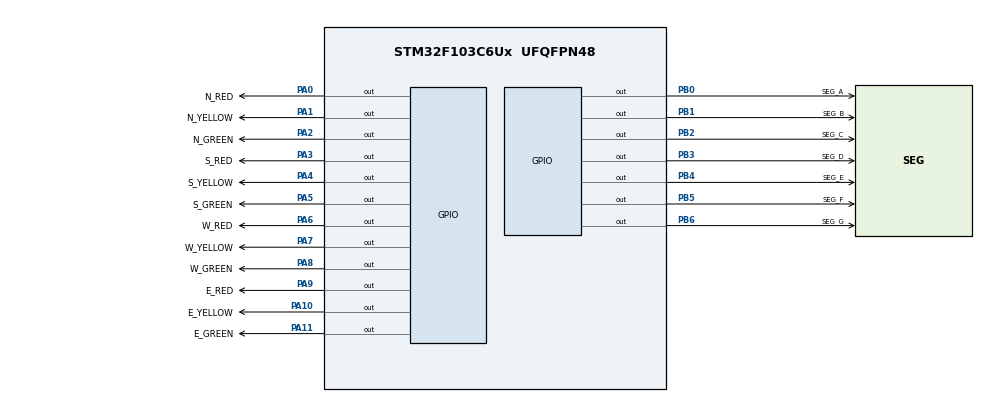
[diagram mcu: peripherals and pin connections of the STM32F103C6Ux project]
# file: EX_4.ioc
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Mcu.Family=STM32F1
Mcu.Name=STM32F103C6Ux
Mcu.Package=UFQFPN48
NVIC.PriorityGroup=NVIC_PRIORITYGROUP_4
PA0-WKUP.GPIO_Label=N_RED
PA0-WKUP.Signal=GPIO_Output
PA1.GPIO_Label=N_YELLOW
PA1.Signal=GPIO_Output
PA10.GPIO_Label=E_YELLOW
PA10.Signal=GPIO_Output
PA11.GPIO_Label=E_GREEN
PA11.Signal=GPIO_Output
PA2.GPIO_Label=N_GREEN
PA2.Signal=GPIO_Output
PA3.GPIO_Label=S_RED
PA3.Signal=GPIO_Output
PA4.GPIO_Label=S_YELLOW
PA4.Signal=GPIO_Output
PA5.GPIO_Label=S_GREEN
PA5.Signal=GPIO_Output
PA6.GPIO_Label=W_RED
PA6.Signal=GPIO_Output
PA7.GPIO_Label=W_YELLOW
PA7.Signal=GPIO_Output
PA8.GPIO_Label=W_GREEN
PA8.Signal=GPIO_Output
PA9.GPIO_Label=E_RED
PA9.Signal=GPIO_Output
PB0.GPIO_Label=SEG_A
PB0.Signal=GPIO_Output
PB1.GPIO_Label=SEG_B
PB1.Signal=GPIO_Output
PB2.GPIO_Label=SEG_C
PB2.Signal=GPIO_Output
PB3.GPIO_Label=SEG_D
PB3.Signal=GPIO_Output
PB4.GPIO_Label=SEG_E
PB4.Signal=GPIO_Output
PB5.GPIO_Label=SEG_F
PB5.Signal=GPIO_Output
PB6.GPIO_Label=SEG_G
PB6.Signal=GPIO_Output
ProjectManager.HeapSize=0x200
ProjectManager.StackSize=0x400
ProjectManager.TargetToolchain=STM32CubeIDE
RCC.APB1Freq_Value=8000000
RCC.APB2Freq_Value=8000000
VP_SYS_VS_ND.Mode=No_Debug
board=custom

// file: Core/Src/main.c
/* USER CODE BEGIN Header */
/**
  ******************************************************************************
  * @file           : main.c
  * @brief          : Main program body
  ******************************************************************************
  * @attention
  *
  * <h2><center>&copy; Copyright (c) 2026 STMicroelectronics.
  * All rights reserved.</center></h2>
  *
  * This software component is licensed by ST under BSD 3-Clause license,
  * the "License"; You may not use this file except in compliance with the
  * License. You may obtain a copy of the License at:
  *                        opensource.org/licenses/BSD-3-Clause
  *
  ******************************************************************************
  */
/* USER CODE END Header */
#include "main.h"

void SystemClock_Config(void);
static void MX_GPIO_Init(void);
/* USER CODE BEGIN PFP */
void display7SEG(int num);
/* USER CODE END PFP */

/* USER CODE BEGIN 0 */

/* One byte per digit. Bit 0 = segment a ... bit 6 = segment g.
   A bit of 1 means that segment is lit. */
const uint8_t SEG_CODE[10] = {
    0x3F, /* 0 */
    0x06, /* 1 */
    0x5B, /* 2 */
    0x4F, /* 3 */
    0x66, /* 4 */
    0x6D, /* 5 */
    0x7D, /* 6 */
    0x07, /* 7 */
    0x7F, /* 8 */
    0x6F  /* 9 */
};

/* Show a digit (0 to 9) on the common anode 7-segment on PB0..PB6.
   Common anode: a segment turns on when its pin is logic 0. */
void display7SEG(int num)
{
    if (num < 0 || num > 9) return;

    uint8_t code = SEG_CODE[num];
    for (int i = 0; i < 7; i++)
    {
        HAL_GPIO_WritePin(GPIOB, (uint16_t)(GPIO_PIN_0 << i),
                          ((code >> i) & 1) ? GPIO_PIN_RESET : GPIO_PIN_SET);
    }
}

/* USER CODE END 0 */

int main(void)
{

  /* MCU Configuration--------------------------------------------------------*/

  /* Reset of all peripherals, Initializes the Flash interface and the Systick. */
  HAL_Init();

  /* Configure the system clock */
  SystemClock_Config();

  /* Initialize all configured peripherals */
  MX_GPIO_Init();
  /* USER CODE BEGIN 2 */
  int counter = 0;
  /* USER CODE END 2 */

  /* Infinite loop */
  /* USER CODE BEGIN WHILE */
  while (1)
  {
    if (counter >= 10) counter = 0;
    display7SEG(counter++);
    HAL_Delay(1000);
    /* USER CODE END WHILE */

  }
}

void SystemClock_Config(void)
{
  RCC_OscInitTypeDef RCC_OscInitStruct = {0};
  RCC_ClkInitTypeDef RCC_ClkInitStruct = {0};

  /** Initializes the RCC Oscillators according to the specified parameters
  * in the RCC_OscInitTypeDef structure.
  */
  RCC_OscInitStruct.OscillatorType = RCC_OSCILLATORTYPE_HSI;
  RCC_OscInitStruct.HSIState = RCC_HSI_ON;
  RCC_OscInitStruct.HSICalibrationValue = RCC_HSICALIBRATION_DEFAULT;
  RCC_OscInitStruct.PLL.PLLState = RCC_PLL_NONE;
  if (HAL_RCC_OscConfig(&RCC_OscInitStruct) != HAL_OK)
  {
    Error_Handler();
  }
  /** Initializes the CPU, AHB and APB buses clocks
  */
  RCC_ClkInitStruct.ClockType = RCC_CLOCKTYPE_HCLK|RCC_CLOCKTYPE_SYSCLK
                              |RCC_CLOCKTYPE_PCLK1|RCC_CLOCKTYPE_PCLK2;
  RCC_ClkInitStruct.SYSCLKSource = RCC_SYSCLKSOURCE_HSI;
  RCC_ClkInitStruct.AHBCLKDivider = RCC_SYSCLK_DIV1;
  RCC_ClkInitStruct.APB1CLKDivider = RCC_HCLK_DIV1;
  RCC_ClkInitStruct.APB2CLKDivider = RCC_HCLK_DIV1;

  if (HAL_RCC_ClockConfig(&RCC_ClkInitStruct, FLASH_LATENCY_0) != HAL_OK)
  {
    Error_Handler();
  }
}

static void MX_GPIO_Init(void)
{
  GPIO_InitTypeDef GPIO_InitStruct = {0};

  /* GPIO Ports Clock Enable */
  __HAL_RCC_GPIOA_CLK_ENABLE();
  __HAL_RCC_GPIOB_CLK_ENABLE();

  /*Configure GPIO pin Output Level */
  HAL_GPIO_WritePin(GPIOA, N_RED_Pin|N_YELLOW_Pin|N_GREEN_Pin|S_RED_Pin
                          |S_YELLOW_Pin|S_GREEN_Pin|W_RED_Pin|W_YELLOW_Pin
                          |W_GREEN_Pin|E_RED_Pin|E_YELLOW_Pin|E_GREEN_Pin, GPIO_PIN_RESET);

  /*Configure GPIO pin Output Level */
  HAL_GPIO_WritePin(GPIOB, SEG_A_Pin|SEG_B_Pin|SEG_C_Pin|SEG_D_Pin
                          |SEG_E_Pin|SEG_F_Pin|SEG_G_Pin, GPIO_PIN_RESET);

  /*Configure GPIO pins : N_RED_Pin N_YELLOW_Pin N_GREEN_Pin S_RED_Pin
                           S_YELLOW_Pin S_GREEN_Pin W_RED_Pin W_YELLOW_Pin
                           W_GREEN_Pin E_RED_Pin E_YELLOW_Pin E_GREEN_Pin */
  GPIO_InitStruct.Pin = N_RED_Pin|N_YELLOW_Pin|N_GREEN_Pin|S_RED_Pin
                          |S_YELLOW_Pin|S_GREEN_Pin|W_RED_Pin|W_YELLOW_Pin
                          |W_GREEN_Pin|E_RED_Pin|E_YELLOW_Pin|E_GREEN_Pin;
  GPIO_InitStruct.Mode = GPIO_MODE_OUTPUT_PP;
  GPIO_InitStruct.Pull = GPIO_NOPULL;
  GPIO_InitStruct.Speed = GPIO_SPEED_FREQ_LOW;
  HAL_GPIO_Init(GPIOA, &GPIO_InitStruct);

  /*Configure GPIO pins : SEG_A_Pin SEG_B_Pin SEG_C_Pin SEG_D_Pin
                           SEG_E_Pin SEG_F_Pin SEG_G_Pin */
  GPIO_InitStruct.Pin = SEG_A_Pin|SEG_B_Pin|SEG_C_Pin|SEG_D_Pin
                          |SEG_E_Pin|SEG_F_Pin|SEG_G_Pin;
  GPIO_InitStruct.Mode = GPIO_MODE_OUTPUT_PP;
  GPIO_InitStruct.Pull = GPIO_NOPULL;
  GPIO_InitStruct.Speed = GPIO_SPEED_FREQ_LOW;
  HAL_GPIO_Init(GPIOB, &GPIO_InitStruct);

}

void Error_Handler(void)
{
  __disable_irq();
  while (1)
  {
  }
}

/************************ (C) COPYRIGHT STMicroelectronics *****END OF FILE****/
